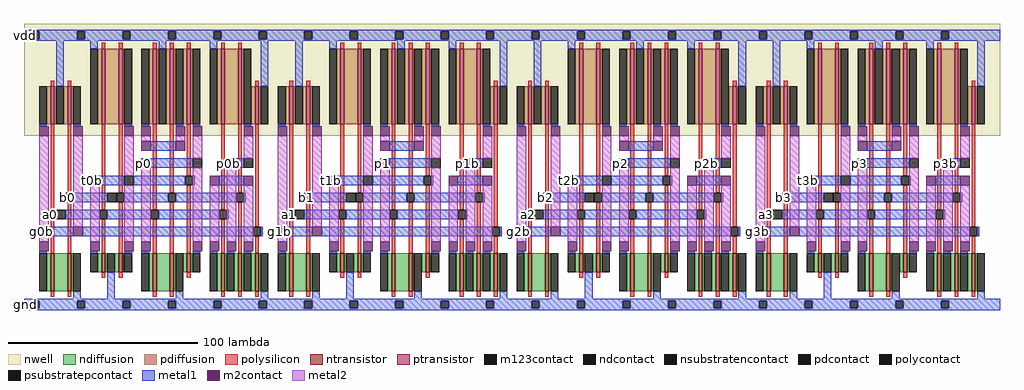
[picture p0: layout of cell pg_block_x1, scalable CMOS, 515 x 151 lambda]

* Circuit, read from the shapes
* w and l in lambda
.subckt pg_block_x1 a0 a1 a2 a3 b0 b1 b2 b3 g0b g1b g2b g3b p0 p0b p1 p1b p2 p2b p3 p3b t0b t1b t2b t3b vdd gnd
M1 n1 a0 g0b gnd nfet w=20 l=2
M2 gnd b0 n1 gnd nfet w=20 l=2
M3 gnd a0 t0b gnd nfet w=10 l=2
M4 t0b b0 gnd gnd nfet w=10 l=2
M5 n2 a0 p0 gnd nfet w=20 l=2
M6 gnd b0 n2 gnd nfet w=20 l=2
M7 p0 t0b gnd gnd nfet w=10 l=2
M8 p0b a0 n3 gnd nfet w=20 l=2
M9 n3 b0 p0b gnd nfet w=20 l=2
M10 gnd g0b n3 gnd nfet w=20 l=2
M11 n4 a1 g1b gnd nfet w=20 l=2
M12 gnd b1 n4 gnd nfet w=20 l=2
M13 gnd a1 t1b gnd nfet w=10 l=2
M14 t1b b1 gnd gnd nfet w=10 l=2
M15 n5 a1 p1 gnd nfet w=20 l=2
M16 gnd b1 n5 gnd nfet w=20 l=2
M17 p1 t1b gnd gnd nfet w=10 l=2
M18 p1b a1 n6 gnd nfet w=20 l=2
M19 n6 b1 p1b gnd nfet w=20 l=2
M20 gnd g1b n6 gnd nfet w=20 l=2
M21 n7 a2 g2b gnd nfet w=20 l=2
M22 gnd b2 n7 gnd nfet w=20 l=2
M23 gnd a2 t2b gnd nfet w=10 l=2
M24 t2b b2 gnd gnd nfet w=10 l=2
M25 n8 a2 p2 gnd nfet w=20 l=2
M26 gnd b2 n8 gnd nfet w=20 l=2
M27 p2 t2b gnd gnd nfet w=10 l=2
M28 p2b a2 n9 gnd nfet w=20 l=2
M29 n9 b2 p2b gnd nfet w=20 l=2
M30 gnd g2b n9 gnd nfet w=20 l=2
M31 n10 a3 g3b gnd nfet w=20 l=2
M32 gnd b3 n10 gnd nfet w=20 l=2
M33 gnd a3 t3b gnd nfet w=10 l=2
M34 t3b b3 gnd gnd nfet w=10 l=2
M35 n11 a3 p3 gnd nfet w=20 l=2
M36 gnd b3 n11 gnd nfet w=20 l=2
M37 p3 t3b gnd gnd nfet w=10 l=2
M38 p3b a3 n12 gnd nfet w=20 l=2
M39 n12 b3 p3b gnd nfet w=20 l=2
M40 gnd g3b n12 gnd nfet w=20 l=2
M41 vdd a0 g0b vdd pfet w=20 l=2
M42 g0b b0 vdd vdd pfet w=20 l=2
M43 n13 a0 vdd vdd pfet w=40 l=2
M44 t0b b0 n13 vdd pfet w=40 l=2
M45 vdd a0 n14 vdd pfet w=40 l=2
M46 n14 b0 vdd vdd pfet w=40 l=2
M47 p0 t0b n14 vdd pfet w=40 l=2
M48 n15 a0 vdd vdd pfet w=40 l=2
M49 p0b b0 n15 vdd pfet w=40 l=2
M50 vdd g0b p0b vdd pfet w=20 l=2
M51 vdd a1 g1b vdd pfet w=20 l=2
M52 g1b b1 vdd vdd pfet w=20 l=2
M53 n16 a1 vdd vdd pfet w=40 l=2
M54 t1b b1 n16 vdd pfet w=40 l=2
M55 vdd a1 n17 vdd pfet w=40 l=2
M56 n17 b1 vdd vdd pfet w=40 l=2
M57 p1 t1b n17 vdd pfet w=40 l=2
M58 n18 a1 vdd vdd pfet w=40 l=2
M59 p1b b1 n18 vdd pfet w=40 l=2
M60 vdd g1b p1b vdd pfet w=20 l=2
M61 vdd a2 g2b vdd pfet w=20 l=2
M62 g2b b2 vdd vdd pfet w=20 l=2
M63 n19 a2 vdd vdd pfet w=40 l=2
M64 t2b b2 n19 vdd pfet w=40 l=2
M65 vdd a2 n20 vdd pfet w=40 l=2
M66 n20 b2 vdd vdd pfet w=40 l=2
M67 p2 t2b n20 vdd pfet w=40 l=2
M68 n21 a2 vdd vdd pfet w=40 l=2
M69 p2b b2 n21 vdd pfet w=40 l=2
M70 vdd g2b p2b vdd pfet w=20 l=2
M71 vdd a3 g3b vdd pfet w=20 l=2
M72 g3b b3 vdd vdd pfet w=20 l=2
M73 n22 a3 vdd vdd pfet w=40 l=2
M74 t3b b3 n22 vdd pfet w=40 l=2
M75 vdd a3 n23 vdd pfet w=40 l=2
M76 n23 b3 vdd vdd pfet w=40 l=2
M77 p3 t3b n23 vdd pfet w=40 l=2
M78 n24 a3 vdd vdd pfet w=40 l=2
M79 p3b b3 n24 vdd pfet w=40 l=2
M80 vdd g3b p3b vdd pfet w=20 l=2
.ends

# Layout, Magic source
magic
tech scmos
<< nwell >>
rect 0 92 515 151
<< ntransistor >>
rect 14 10 16 30
rect 23 10 25 30
rect 41 20 43 30
rect 50 20 52 30
rect 68 10 70 30
rect 77 10 79 30
rect 86 20 88 30
rect 104 10 106 30
rect 113 10 115 30
rect 122 10 124 30
rect 140 10 142 30
rect 149 10 151 30
rect 167 20 169 30
rect 176 20 178 30
rect 194 10 196 30
rect 203 10 205 30
rect 212 20 214 30
rect 230 10 232 30
rect 239 10 241 30
rect 248 10 250 30
rect 266 10 268 30
rect 275 10 277 30
rect 293 20 295 30
rect 302 20 304 30
rect 320 10 322 30
rect 329 10 331 30
rect 338 20 340 30
rect 356 10 358 30
rect 365 10 367 30
rect 374 10 376 30
rect 392 10 394 30
rect 401 10 403 30
rect 419 20 421 30
rect 428 20 430 30
rect 446 10 448 30
rect 455 10 457 30
rect 464 20 466 30
rect 482 10 484 30
rect 491 10 493 30
rect 500 10 502 30
<< ptransistor >>
rect 14 98 16 118
rect 23 98 25 118
rect 41 98 43 138
rect 50 98 52 138
rect 68 98 70 138
rect 77 98 79 138
rect 86 98 88 138
rect 104 98 106 138
rect 113 98 115 138
rect 122 98 124 118
rect 140 98 142 118
rect 149 98 151 118
rect 167 98 169 138
rect 176 98 178 138
rect 194 98 196 138
rect 203 98 205 138
rect 212 98 214 138
rect 230 98 232 138
rect 239 98 241 138
rect 248 98 250 118
rect 266 98 268 118
rect 275 98 277 118
rect 293 98 295 138
rect 302 98 304 138
rect 320 98 322 138
rect 329 98 331 138
rect 338 98 340 138
rect 356 98 358 138
rect 365 98 367 138
rect 374 98 376 118
rect 392 98 394 118
rect 401 98 403 118
rect 419 98 421 138
rect 428 98 430 138
rect 446 98 448 138
rect 455 98 457 138
rect 464 98 466 138
rect 482 98 484 138
rect 491 98 493 138
rect 500 98 502 118
<< ndiffusion >>
rect 12 10 14 30
rect 16 10 23 30
rect 25 10 26 30
rect 39 20 41 30
rect 43 20 44 30
rect 48 20 50 30
rect 52 20 53 30
rect 66 10 68 30
rect 70 10 77 30
rect 79 10 80 30
rect 84 20 86 30
rect 88 20 89 30
rect 102 10 104 30
rect 106 10 107 30
rect 111 10 113 30
rect 115 10 116 30
rect 120 10 122 30
rect 124 10 125 30
rect 138 10 140 30
rect 142 10 149 30
rect 151 10 152 30
rect 165 20 167 30
rect 169 20 170 30
rect 174 20 176 30
rect 178 20 179 30
rect 192 10 194 30
rect 196 10 203 30
rect 205 10 206 30
rect 210 20 212 30
rect 214 20 215 30
rect 228 10 230 30
rect 232 10 233 30
rect 237 10 239 30
rect 241 10 242 30
rect 246 10 248 30
rect 250 10 251 30
rect 264 10 266 30
rect 268 10 275 30
rect 277 10 278 30
rect 291 20 293 30
rect 295 20 296 30
rect 300 20 302 30
rect 304 20 305 30
rect 318 10 320 30
rect 322 10 329 30
rect 331 10 332 30
rect 336 20 338 30
rect 340 20 341 30
rect 354 10 356 30
rect 358 10 359 30
rect 363 10 365 30
rect 367 10 368 30
rect 372 10 374 30
rect 376 10 377 30
rect 390 10 392 30
rect 394 10 401 30
rect 403 10 404 30
rect 417 20 419 30
rect 421 20 422 30
rect 426 20 428 30
rect 430 20 431 30
rect 444 10 446 30
rect 448 10 455 30
rect 457 10 458 30
rect 462 20 464 30
rect 466 20 467 30
rect 480 10 482 30
rect 484 10 485 30
rect 489 10 491 30
rect 493 10 494 30
rect 498 10 500 30
rect 502 10 503 30
<< pdiffusion >>
rect 12 98 14 118
rect 16 98 17 118
rect 21 98 23 118
rect 25 98 26 118
rect 39 98 41 138
rect 43 98 50 138
rect 52 98 53 138
rect 66 98 68 138
rect 70 98 71 138
rect 75 98 77 138
rect 79 98 80 138
rect 84 98 86 138
rect 88 98 89 138
rect 102 98 104 138
rect 106 98 113 138
rect 115 98 116 138
rect 120 98 122 118
rect 124 98 125 118
rect 138 98 140 118
rect 142 98 143 118
rect 147 98 149 118
rect 151 98 152 118
rect 165 98 167 138
rect 169 98 176 138
rect 178 98 179 138
rect 192 98 194 138
rect 196 98 197 138
rect 201 98 203 138
rect 205 98 206 138
rect 210 98 212 138
rect 214 98 215 138
rect 228 98 230 138
rect 232 98 239 138
rect 241 98 242 138
rect 246 98 248 118
rect 250 98 251 118
rect 264 98 266 118
rect 268 98 269 118
rect 273 98 275 118
rect 277 98 278 118
rect 291 98 293 138
rect 295 98 302 138
rect 304 98 305 138
rect 318 98 320 138
rect 322 98 323 138
rect 327 98 329 138
rect 331 98 332 138
rect 336 98 338 138
rect 340 98 341 138
rect 354 98 356 138
rect 358 98 365 138
rect 367 98 368 138
rect 372 98 374 118
rect 376 98 377 118
rect 390 98 392 118
rect 394 98 395 118
rect 399 98 401 118
rect 403 98 404 118
rect 417 98 419 138
rect 421 98 428 138
rect 430 98 431 138
rect 444 98 446 138
rect 448 98 449 138
rect 453 98 455 138
rect 457 98 458 138
rect 462 98 464 138
rect 466 98 467 138
rect 480 98 482 138
rect 484 98 491 138
rect 493 98 494 138
rect 498 98 500 118
rect 502 98 503 118
<< ndcontact >>
rect 8 10 12 30
rect 26 10 30 30
rect 35 20 39 30
rect 44 20 48 30
rect 53 20 57 30
rect 62 10 66 30
rect 80 10 84 30
rect 89 20 93 30
rect 98 10 102 30
rect 107 10 111 30
rect 116 10 120 30
rect 125 10 129 30
rect 134 10 138 30
rect 152 10 156 30
rect 161 20 165 30
rect 170 20 174 30
rect 179 20 183 30
rect 188 10 192 30
rect 206 10 210 30
rect 215 20 219 30
rect 224 10 228 30
rect 233 10 237 30
rect 242 10 246 30
rect 251 10 255 30
rect 260 10 264 30
rect 278 10 282 30
rect 287 20 291 30
rect 296 20 300 30
rect 305 20 309 30
rect 314 10 318 30
rect 332 10 336 30
rect 341 20 345 30
rect 350 10 354 30
rect 359 10 363 30
rect 368 10 372 30
rect 377 10 381 30
rect 386 10 390 30
rect 404 10 408 30
rect 413 20 417 30
rect 422 20 426 30
rect 431 20 435 30
rect 440 10 444 30
rect 458 10 462 30
rect 467 20 471 30
rect 476 10 480 30
rect 485 10 489 30
rect 494 10 498 30
rect 503 10 507 30
<< pdcontact >>
rect 8 98 12 118
rect 17 98 21 118
rect 26 98 30 118
rect 35 98 39 138
rect 53 98 57 138
rect 62 98 66 138
rect 71 98 75 138
rect 80 98 84 138
rect 89 98 93 138
rect 98 98 102 138
rect 116 98 120 138
rect 125 98 129 118
rect 134 98 138 118
rect 143 98 147 118
rect 152 98 156 118
rect 161 98 165 138
rect 179 98 183 138
rect 188 98 192 138
rect 197 98 201 138
rect 206 98 210 138
rect 215 98 219 138
rect 224 98 228 138
rect 242 98 246 138
rect 251 98 255 118
rect 260 98 264 118
rect 269 98 273 118
rect 278 98 282 118
rect 287 98 291 138
rect 305 98 309 138
rect 314 98 318 138
rect 323 98 327 138
rect 332 98 336 138
rect 341 98 345 138
rect 350 98 354 138
rect 368 98 372 138
rect 377 98 381 118
rect 386 98 390 118
rect 395 98 399 118
rect 404 98 408 118
rect 413 98 417 138
rect 431 98 435 138
rect 440 98 444 138
rect 449 98 453 138
rect 458 98 462 138
rect 467 98 471 138
rect 476 98 480 138
rect 494 98 498 138
rect 503 98 507 118
<< psubstratepcontact >>
rect 4 1 8 5
rect 28 1 32 5
rect 52 1 56 5
rect 76 1 80 5
rect 100 1 104 5
rect 124 1 128 5
rect 148 1 152 5
rect 172 1 176 5
rect 196 1 200 5
rect 220 1 224 5
rect 244 1 248 5
rect 268 1 272 5
rect 292 1 296 5
rect 316 1 320 5
rect 340 1 344 5
rect 364 1 368 5
rect 388 1 392 5
rect 412 1 416 5
rect 436 1 440 5
rect 460 1 464 5
rect 484 1 488 5
<< nsubstratencontact >>
rect 4 143 8 147
rect 28 143 32 147
rect 52 143 56 147
rect 76 143 80 147
rect 100 143 104 147
rect 124 143 128 147
rect 148 143 152 147
rect 172 143 176 147
rect 196 143 200 147
rect 220 143 224 147
rect 244 143 248 147
rect 268 143 272 147
rect 292 143 296 147
rect 316 143 320 147
rect 340 143 344 147
rect 364 143 368 147
rect 388 143 392 147
rect 412 143 416 147
rect 436 143 440 147
rect 460 143 464 147
rect 484 143 488 147
<< polysilicon >>
rect 41 138 43 141
rect 50 138 52 141
rect 68 138 70 141
rect 77 138 79 141
rect 86 138 88 141
rect 104 138 106 141
rect 113 138 115 141
rect 167 138 169 141
rect 176 138 178 141
rect 194 138 196 141
rect 203 138 205 141
rect 212 138 214 141
rect 230 138 232 141
rect 239 138 241 141
rect 293 138 295 141
rect 302 138 304 141
rect 320 138 322 141
rect 329 138 331 141
rect 338 138 340 141
rect 356 138 358 141
rect 365 138 367 141
rect 419 138 421 141
rect 428 138 430 141
rect 446 138 448 141
rect 455 138 457 141
rect 464 138 466 141
rect 482 138 484 141
rect 491 138 493 141
rect 14 118 16 121
rect 23 118 25 121
rect 122 118 124 121
rect 140 118 142 121
rect 149 118 151 121
rect 248 118 250 121
rect 266 118 268 121
rect 275 118 277 121
rect 374 118 376 121
rect 392 118 394 121
rect 401 118 403 121
rect 500 118 502 121
rect 14 53 16 98
rect 23 62 25 98
rect 14 30 16 48
rect 23 30 25 57
rect 41 53 43 98
rect 50 62 52 98
rect 41 30 43 48
rect 50 30 52 57
rect 68 53 70 98
rect 77 62 79 98
rect 86 71 88 98
rect 68 30 70 48
rect 77 30 79 57
rect 86 30 88 66
rect 104 53 106 98
rect 113 62 115 98
rect 104 30 106 48
rect 113 30 115 57
rect 122 44 124 98
rect 140 53 142 98
rect 149 62 151 98
rect 122 30 124 39
rect 140 30 142 48
rect 149 30 151 57
rect 167 53 169 98
rect 176 62 178 98
rect 167 30 169 48
rect 176 30 178 57
rect 194 53 196 98
rect 203 62 205 98
rect 212 71 214 98
rect 194 30 196 48
rect 203 30 205 57
rect 212 30 214 66
rect 230 53 232 98
rect 239 62 241 98
rect 230 30 232 48
rect 239 30 241 57
rect 248 44 250 98
rect 266 53 268 98
rect 275 62 277 98
rect 248 30 250 39
rect 266 30 268 48
rect 275 30 277 57
rect 293 53 295 98
rect 302 62 304 98
rect 293 30 295 48
rect 302 30 304 57
rect 320 53 322 98
rect 329 62 331 98
rect 338 71 340 98
rect 320 30 322 48
rect 329 30 331 57
rect 338 30 340 66
rect 356 53 358 98
rect 365 62 367 98
rect 356 30 358 48
rect 365 30 367 57
rect 374 44 376 98
rect 392 53 394 98
rect 401 62 403 98
rect 374 30 376 39
rect 392 30 394 48
rect 401 30 403 57
rect 419 53 421 98
rect 428 62 430 98
rect 419 30 421 48
rect 428 30 430 57
rect 446 53 448 98
rect 455 62 457 98
rect 464 71 466 98
rect 446 30 448 48
rect 455 30 457 57
rect 464 30 466 66
rect 482 53 484 98
rect 491 62 493 98
rect 482 30 484 48
rect 491 30 493 57
rect 500 44 502 98
rect 500 30 502 39
rect 41 17 43 20
rect 50 17 52 20
rect 86 17 88 20
rect 167 17 169 20
rect 176 17 178 20
rect 212 17 214 20
rect 293 17 295 20
rect 302 17 304 20
rect 338 17 340 20
rect 419 17 421 20
rect 428 17 430 20
rect 464 17 466 20
rect 14 7 16 10
rect 23 7 25 10
rect 68 7 70 10
rect 77 7 79 10
rect 104 7 106 10
rect 113 7 115 10
rect 122 7 124 10
rect 140 7 142 10
rect 149 7 151 10
rect 194 7 196 10
rect 203 7 205 10
rect 230 7 232 10
rect 239 7 241 10
rect 248 7 250 10
rect 266 7 268 10
rect 275 7 277 10
rect 320 7 322 10
rect 329 7 331 10
rect 356 7 358 10
rect 365 7 367 10
rect 374 7 376 10
rect 392 7 394 10
rect 401 7 403 10
rect 446 7 448 10
rect 455 7 457 10
rect 482 7 484 10
rect 491 7 493 10
rect 500 7 502 10
<< polycontact >>
rect 22 57 26 62
rect 13 48 17 53
rect 49 57 53 62
rect 40 48 44 53
rect 85 66 89 71
rect 76 57 80 62
rect 67 48 71 53
rect 112 57 116 62
rect 103 48 107 53
rect 148 57 152 62
rect 139 48 143 53
rect 121 39 125 44
rect 175 57 179 62
rect 166 48 170 53
rect 211 66 215 71
rect 202 57 206 62
rect 193 48 197 53
rect 238 57 242 62
rect 229 48 233 53
rect 274 57 278 62
rect 265 48 269 53
rect 247 39 251 44
rect 301 57 305 62
rect 292 48 296 53
rect 337 66 341 71
rect 328 57 332 62
rect 319 48 323 53
rect 364 57 368 62
rect 355 48 359 53
rect 400 57 404 62
rect 391 48 395 53
rect 373 39 377 44
rect 427 57 431 62
rect 418 48 422 53
rect 463 66 467 71
rect 454 57 458 62
rect 445 48 449 53
rect 490 57 494 62
rect 481 48 485 53
rect 499 39 503 44
<< metal1 >>
rect 0 147 515 148
rect 0 143 4 147
rect 8 143 28 147
rect 32 143 52 147
rect 56 143 76 147
rect 80 143 100 147
rect 104 143 124 147
rect 128 143 148 147
rect 152 143 172 147
rect 176 143 196 147
rect 200 143 220 147
rect 224 143 244 147
rect 248 143 268 147
rect 272 143 292 147
rect 296 143 316 147
rect 320 143 340 147
rect 344 143 364 147
rect 368 143 388 147
rect 392 143 412 147
rect 416 143 436 147
rect 440 143 460 147
rect 464 143 484 147
rect 488 143 515 147
rect 0 142 515 143
rect 17 118 21 142
rect 35 138 39 142
rect 71 138 75 142
rect 98 138 102 142
rect 8 97 12 98
rect 26 97 30 98
rect 53 97 57 98
rect 62 97 66 98
rect 80 97 84 98
rect 125 118 129 142
rect 143 118 147 142
rect 161 138 165 142
rect 197 138 201 142
rect 224 138 228 142
rect 89 97 93 98
rect 116 97 120 98
rect 134 97 138 98
rect 152 97 156 98
rect 179 97 183 98
rect 188 97 192 98
rect 206 97 210 98
rect 251 118 255 142
rect 269 118 273 142
rect 287 138 291 142
rect 323 138 327 142
rect 350 138 354 142
rect 215 97 219 98
rect 242 97 246 98
rect 260 97 264 98
rect 278 97 282 98
rect 305 97 309 98
rect 314 97 318 98
rect 332 97 336 98
rect 377 118 381 142
rect 395 118 399 142
rect 413 138 417 142
rect 449 138 453 142
rect 476 138 480 142
rect 341 97 345 98
rect 368 97 372 98
rect 386 97 390 98
rect 404 97 408 98
rect 431 97 435 98
rect 440 97 444 98
rect 458 97 462 98
rect 503 118 507 142
rect 467 97 471 98
rect 494 97 498 98
rect 67 84 80 89
rect 193 84 206 89
rect 319 84 332 89
rect 445 84 458 89
rect 67 75 89 80
rect 112 75 116 80
rect 193 75 215 80
rect 238 75 242 80
rect 319 75 341 80
rect 364 75 368 80
rect 445 75 467 80
rect 490 75 494 80
rect 40 66 53 71
rect 58 66 85 71
rect 89 66 90 71
rect 103 66 116 71
rect 166 66 179 71
rect 184 66 211 71
rect 215 66 216 71
rect 229 66 242 71
rect 292 66 305 71
rect 310 66 337 71
rect 341 66 342 71
rect 355 66 368 71
rect 418 66 431 71
rect 436 66 463 71
rect 467 66 468 71
rect 481 66 494 71
rect 26 57 44 62
rect 53 57 76 62
rect 80 57 112 62
rect 116 57 117 62
rect 152 57 170 62
rect 179 57 202 62
rect 206 57 238 62
rect 242 57 243 62
rect 278 57 296 62
rect 305 57 328 62
rect 332 57 364 62
rect 368 57 369 62
rect 404 57 422 62
rect 431 57 454 62
rect 458 57 490 62
rect 494 57 495 62
rect 22 48 40 53
rect 44 48 67 53
rect 71 48 103 53
rect 107 48 108 53
rect 148 48 166 53
rect 170 48 193 53
rect 197 48 229 53
rect 233 48 234 53
rect 274 48 292 53
rect 296 48 319 53
rect 323 48 355 53
rect 359 48 360 53
rect 400 48 418 53
rect 422 48 445 53
rect 449 48 481 53
rect 485 48 486 53
rect 13 39 26 44
rect 31 39 121 44
rect 125 39 126 44
rect 139 39 152 44
rect 157 39 247 44
rect 251 39 252 44
rect 265 39 278 44
rect 283 39 373 44
rect 377 39 378 44
rect 391 39 404 44
rect 409 39 499 44
rect 503 39 504 44
rect 8 30 12 31
rect 35 30 39 31
rect 53 30 57 31
rect 62 30 66 31
rect 89 30 93 31
rect 26 6 30 10
rect 44 6 48 20
rect 98 30 102 31
rect 107 30 111 31
rect 116 30 120 31
rect 134 30 138 31
rect 161 30 165 31
rect 179 30 183 31
rect 188 30 192 31
rect 215 30 219 31
rect 80 6 84 10
rect 125 6 129 10
rect 152 6 156 10
rect 170 6 174 20
rect 224 30 228 31
rect 233 30 237 31
rect 242 30 246 31
rect 260 30 264 31
rect 287 30 291 31
rect 305 30 309 31
rect 314 30 318 31
rect 341 30 345 31
rect 206 6 210 10
rect 251 6 255 10
rect 278 6 282 10
rect 296 6 300 20
rect 350 30 354 31
rect 359 30 363 31
rect 368 30 372 31
rect 386 30 390 31
rect 413 30 417 31
rect 431 30 435 31
rect 440 30 444 31
rect 467 30 471 31
rect 332 6 336 10
rect 377 6 381 10
rect 404 6 408 10
rect 422 6 426 20
rect 476 30 480 31
rect 485 30 489 31
rect 494 30 498 31
rect 458 6 462 10
rect 503 6 507 10
rect 0 5 515 6
rect 0 1 4 5
rect 8 1 28 5
rect 32 1 52 5
rect 56 1 76 5
rect 80 1 100 5
rect 104 1 124 5
rect 128 1 148 5
rect 152 1 172 5
rect 176 1 196 5
rect 200 1 220 5
rect 224 1 244 5
rect 248 1 268 5
rect 272 1 292 5
rect 296 1 316 5
rect 320 1 340 5
rect 344 1 364 5
rect 368 1 388 5
rect 392 1 412 5
rect 416 1 436 5
rect 440 1 460 5
rect 464 1 484 5
rect 488 1 515 5
rect 0 0 515 1
<< m2contact >>
rect 8 92 13 97
rect 26 92 31 97
rect 53 92 58 97
rect 62 92 67 97
rect 80 92 85 97
rect 89 92 94 97
rect 116 92 121 97
rect 134 92 139 97
rect 152 92 157 97
rect 179 92 184 97
rect 188 92 193 97
rect 206 92 211 97
rect 215 92 220 97
rect 242 92 247 97
rect 260 92 265 97
rect 278 92 283 97
rect 305 92 310 97
rect 314 92 319 97
rect 332 92 337 97
rect 341 92 346 97
rect 368 92 373 97
rect 386 92 391 97
rect 404 92 409 97
rect 431 92 436 97
rect 440 92 445 97
rect 458 92 463 97
rect 467 92 472 97
rect 494 92 499 97
rect 62 84 67 89
rect 80 84 85 89
rect 188 84 193 89
rect 206 84 211 89
rect 314 84 319 89
rect 332 84 337 89
rect 440 84 445 89
rect 458 84 463 89
rect 62 75 67 80
rect 107 75 112 80
rect 188 75 193 80
rect 233 75 238 80
rect 314 75 319 80
rect 359 75 364 80
rect 440 75 445 80
rect 485 75 490 80
rect 35 66 40 71
rect 98 66 103 71
rect 116 66 121 71
rect 161 66 166 71
rect 224 66 229 71
rect 242 66 247 71
rect 287 66 292 71
rect 350 66 355 71
rect 368 66 373 71
rect 413 66 418 71
rect 476 66 481 71
rect 494 66 499 71
rect 26 39 31 44
rect 152 39 157 44
rect 278 39 283 44
rect 404 39 409 44
rect 8 31 13 36
rect 35 31 40 36
rect 53 31 58 36
rect 62 31 67 36
rect 89 31 94 36
rect 98 31 103 36
rect 107 31 112 36
rect 116 31 121 36
rect 134 31 139 36
rect 161 31 166 36
rect 179 31 184 36
rect 188 31 193 36
rect 215 31 220 36
rect 224 31 229 36
rect 233 31 238 36
rect 242 31 247 36
rect 260 31 265 36
rect 287 31 292 36
rect 305 31 310 36
rect 314 31 319 36
rect 341 31 346 36
rect 350 31 355 36
rect 359 31 364 36
rect 368 31 373 36
rect 386 31 391 36
rect 413 31 418 36
rect 431 31 436 36
rect 440 31 445 36
rect 467 31 472 36
rect 476 31 481 36
rect 485 31 490 36
rect 494 31 499 36
<< metal2 >>
rect 8 44 13 92
rect 26 44 31 92
rect 53 71 58 92
rect 62 89 67 92
rect 80 89 85 92
rect 89 80 94 92
rect 116 80 121 92
rect 8 36 13 39
rect 35 36 40 66
rect 53 36 58 66
rect 62 36 67 75
rect 89 36 94 75
rect 98 36 103 66
rect 107 36 112 75
rect 116 36 121 66
rect 134 44 139 92
rect 152 44 157 92
rect 179 71 184 92
rect 188 89 193 92
rect 206 89 211 92
rect 215 80 220 92
rect 242 80 247 92
rect 134 36 139 39
rect 161 36 166 66
rect 179 36 184 66
rect 188 36 193 75
rect 215 36 220 75
rect 224 36 229 66
rect 233 36 238 75
rect 242 36 247 66
rect 260 44 265 92
rect 278 44 283 92
rect 305 71 310 92
rect 314 89 319 92
rect 332 89 337 92
rect 341 80 346 92
rect 368 80 373 92
rect 260 36 265 39
rect 287 36 292 66
rect 305 36 310 66
rect 314 36 319 75
rect 341 36 346 75
rect 350 36 355 66
rect 359 36 364 75
rect 368 36 373 66
rect 386 44 391 92
rect 404 44 409 92
rect 431 71 436 92
rect 440 89 445 92
rect 458 89 463 92
rect 467 80 472 92
rect 494 80 499 92
rect 386 36 391 39
rect 413 36 418 66
rect 431 36 436 66
rect 440 36 445 75
rect 467 36 472 75
rect 476 36 481 66
rect 485 36 490 75
rect 494 36 499 66
<< m123contact >>
rect 17 48 22 53
rect 8 39 13 44
rect 53 66 58 71
rect 44 57 49 62
rect 89 75 94 80
rect 116 75 121 80
rect 143 48 148 53
rect 134 39 139 44
rect 179 66 184 71
rect 170 57 175 62
rect 215 75 220 80
rect 242 75 247 80
rect 269 48 274 53
rect 260 39 265 44
rect 305 66 310 71
rect 296 57 301 62
rect 341 75 346 80
rect 368 75 373 80
rect 395 48 400 53
rect 386 39 391 44
rect 431 66 436 71
rect 422 57 427 62
rect 467 75 472 80
rect 494 75 499 80
<< labels >>
rlabel metal1 13 48 15 53 0 a0
port 1 nsew
rlabel metal1 139 48 141 53 0 a1
port 2 nsew
rlabel metal1 265 48 267 53 0 a2
port 3 nsew
rlabel metal1 391 48 393 53 0 a3
port 4 nsew
rlabel metal1 22 57 24 62 0 b0
port 5 nsew
rlabel metal1 148 57 150 62 0 b1
port 6 nsew
rlabel metal1 274 57 276 62 0 b2
port 7 nsew
rlabel metal1 400 57 402 62 0 b3
port 8 nsew
rlabel metal1 8 39 10 44 0 g0b
port 9 nsew
rlabel metal1 134 39 136 44 0 g1b
port 10 nsew
rlabel metal1 260 39 262 44 0 g2b
port 11 nsew
rlabel metal1 386 39 388 44 0 g3b
port 12 nsew
rlabel m2contact 62 75 64 80 0 p0
port 13 nsew
rlabel m2contact 107 75 109 80 0 p0b
port 14 nsew
rlabel m2contact 188 75 190 80 0 p1
port 15 nsew
rlabel m2contact 233 75 235 80 0 p1b
port 16 nsew
rlabel m2contact 314 75 316 80 0 p2
port 17 nsew
rlabel m2contact 359 75 361 80 0 p2b
port 18 nsew
rlabel m2contact 440 75 442 80 0 p3
port 19 nsew
rlabel m2contact 485 75 487 80 0 p3b
port 20 nsew
rlabel m2contact 35 66 37 71 0 t0b
port 21 nsew
rlabel m2contact 161 66 163 71 0 t1b
port 22 nsew
rlabel m2contact 287 66 289 71 0 t2b
port 23 nsew
rlabel m2contact 413 66 415 71 0 t3b
port 24 nsew
rlabel metal1 0 142 2 148 0 vdd
port 25 nsew
rlabel metal1 0 0 2 6 0 gnd
port 26 nsew
<< end >>
